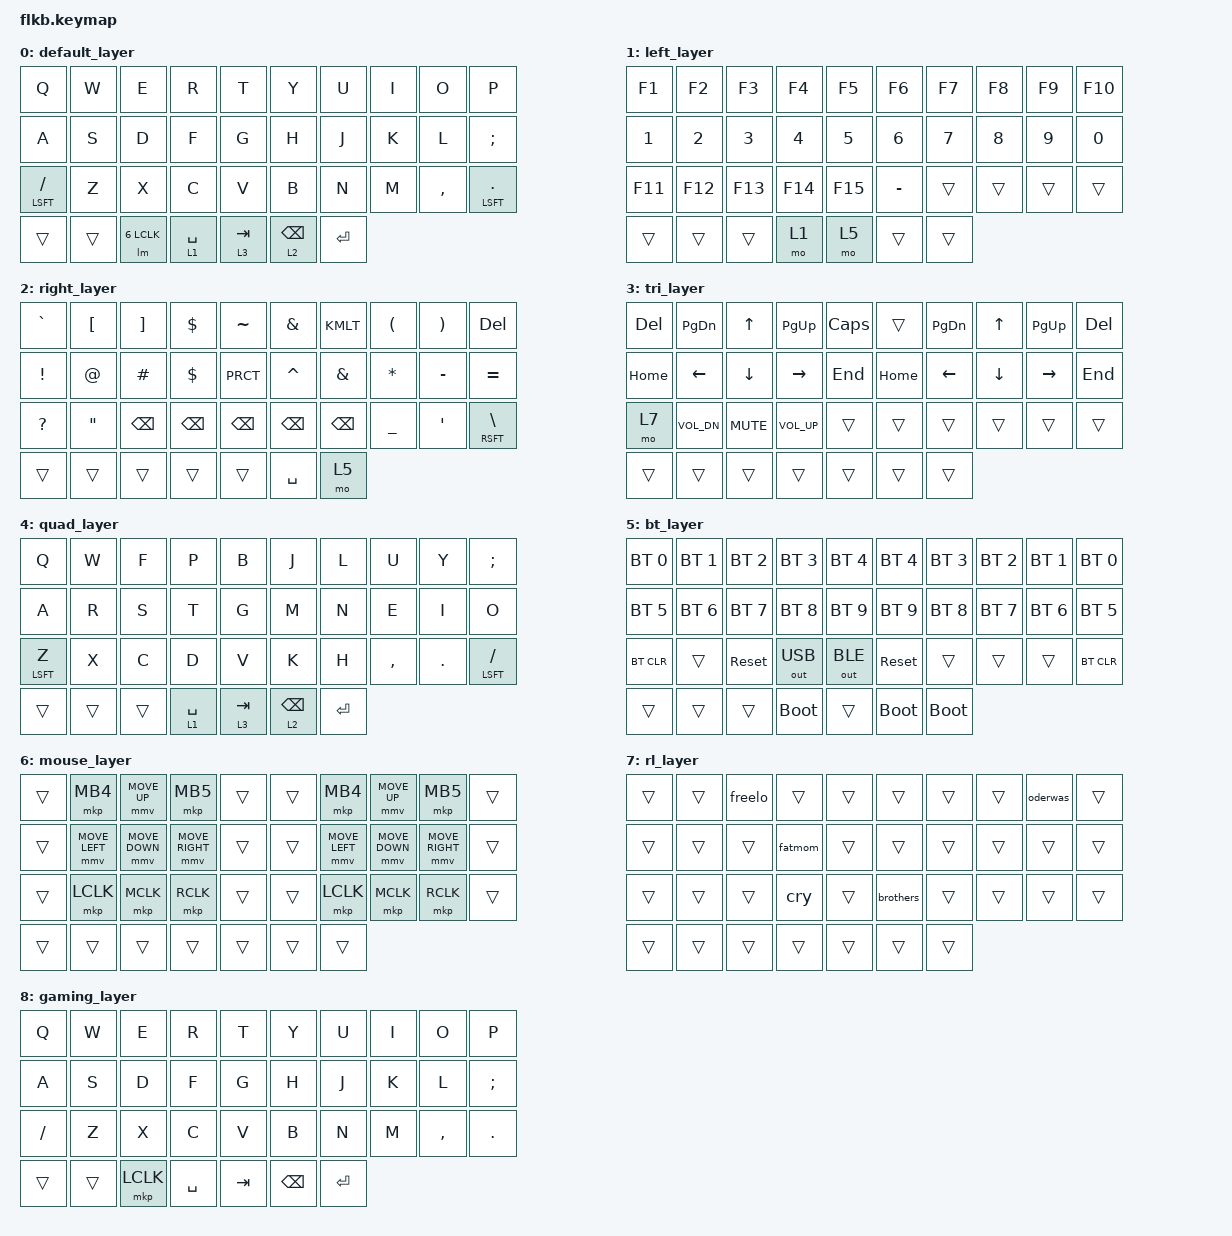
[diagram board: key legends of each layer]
#include <behaviors/mouse_keys.dtsi>
#include <behaviors/layer_mouse.dtsi>
#include <behaviors.dtsi>
#include <rl.dtsi>
#include <dt-bindings/zmk/bt.h>
#include <dt-bindings/zmk/keys.h>
#include <dt-bindings/zmk/mouse.h>
#include <dt-bindings/zmk/outputs.h>


&lt {
  tapping-term-ms = <200>;
  quick_tap_ms = <200>;
  flavor = "hold-preferred";
};

/ {

  combos {
	  compatible = "zmk,combos";
	  combo_gaming {
		timeout-ms = <50>;
		key-positions = <9 19 29>;
		bindings = <&tog 8>;
		slow-release;
	  };

	  combo_esc {
		  timeout-ms = <50>;
		  key-positions = <12 13>;
		  bindings = <&kp ESC>;
		  slow-release;
		  layers = <0 1 2 3 4 5 6 7>;
	  };

	  combo_ent {
		  timeout-ms = <50>;
		  key-positions = <13 24>;
		  bindings = <&kp RET>;
		  slow-release;
		  layers = <0 1 2 3 4 5 6 7>;
	  };

	  combo_bksp {
		  timeout-ms = <50>;
		  key-positions = <10 20>;
		  bindings = <&kp BKSP>;
		  slow-release;
		  layers = <0 1 2 3 4 5 6 7>;
	  };

/*
	  combo_colemak {
		  timeout-ms = <50>;
		  key-positions = <5 25>;
		  bindings = <&tog 4>;
		  slow-release;
		  layers = <0 1 2 3 4 5 6 7>;
	  };
*/

	  // home row combos

	  // left side

	  combo_lhome_alt {
		  timeout-ms = <50>;
		  key-positions = <34 13>;
		  bindings = <&kp LALT>;
		  slow-release;
		  layers = <0 1 2 3 4 5 6 7>;
	  };

	  combo_lhome_altgui {
		  timeout-ms = <50>;
		  key-positions = <34 12 13>;
		  bindings = <&kp LA(LGUI)>;
		  slow-release;
		  layers = <0 1 2 3 4 5 6 7>;
	  };

	  combo_lhome_altctl {
		  timeout-ms = <50>;
		  key-positions = <34 11 13>;
		  bindings = <&kp LA(LCTL)>;
		  slow-release;
		  layers = <0 1 2 3 4 5 6 7>;
	  };

	  combo_lhome_altguictl {
		  timeout-ms = <50>;
		  key-positions = <34 11 12 13>;
		  bindings = <&kp LA(LG(LCTRL))>;
		  slow-release;
		  layers = <0 1 2 3 4 5 6 7>;
	  };

	  combo_lhome_gui {
		  timeout-ms = <50>;
		  key-positions = <34 12>;
		  bindings = <&kp LGUI>;
		  slow-release;
		  layers = <0 1 2 3 4 5 6 7>;
	  };

	  combo_lhome_guictl {
		  timeout-ms = <50>;
		  key-positions = <34 11 12>;
		  bindings = <&kp LG(LCTRL)>;
		  slow-release;
		  layers = <0 1 2 3 4 5 6 7>;
	  };

	  combo_lhome_ctl {
		  timeout-ms = <50>;
		  key-positions = <34 11>;
		  bindings = <&kp LCTRL>;
		  slow-release;
		  layers = <0 1 2 3 4 5 6 7>;
	  };

	  // right side

	  combo_rhome_alt {
		  timeout-ms = <50>;
		  key-positions = <35 16>;
		  bindings = <&kp RALT>;
		  slow-release;
		  layers = <0 1 2 3 4 5 6 7>;
	  };

	  combo_rhome_altgui {
		  timeout-ms = <50>;
		  key-positions = <35 17 16>;
		  bindings = <&kp RA(RGUI)>;
		  slow-release;
		  layers = <0 1 2 3 4 5 6 7>;
	  };

	  combo_rhome_altctl {
		  timeout-ms = <50>;
		  key-positions = <35 18 16>;
		  bindings = <&kp RA(RCTL)>;
		  slow-release;
		  layers = <0 1 2 3 4 5 6 7>;
	  };

	  combo_rhome_altguictl {
		  timeout-ms = <50>;
		  key-positions = <35 18 17 16>;
		  bindings = <&kp RA(RG(RCTRL))>;
		  slow-release;
		  layers = <0 1 2 3 4 5 6 7>;
	  };

	  combo_rhome_gui {
		  timeout-ms = <50>;
		  key-positions = <35 17>;
		  bindings = <&kp RGUI>;
		  slow-release;
		  layers = <0 1 2 3 4 5 6 7>;
	  };

	  combo_rhome_guictl {
		  timeout-ms = <50>;
		  key-positions = <35 18 17>;
		  bindings = <&kp RG(RCTRL)>;
		  slow-release;
		  layers = <0 1 2 3 4 5 6 7>;
	  };

	  combo_rhome_ctl {
		  timeout-ms = <50>;
		  key-positions = <35 18>;
		  bindings = <&kp RCTRL>;
		  slow-release;
		  layers = <0 1 2 3 4 5 6 7>;
	  };

	  combo_lalt {
		   timeout-ms = <50>;
		   key-positions = <1 12>;
		   bindings = <&kp LALT>;
		   slow-release;
		   layers = <0 1 2 3 4 5 6 7>;
	   };
	   combo_lgui {
		   timeout-ms = <50>;
		   key-positions = <1 13>;
		   bindings = <&kp LGUI>;
		   slow-release;
		   layers = <0 1 2 3 4 5 6 7>;
	   };
	   combo_lctl {
		   timeout-ms = <50>;
		   key-positions = <2 13>;
		   bindings = <&kp LCTL>;
		   slow-release;
		   layers = <0 1 2 3 4 5 6 7>;
	   };
	   combo_ralt {
		   timeout-ms = <50>;
		   key-positions = <8 17>;
		   bindings = <&kp RALT>;
		   slow-release;
		   layers = <0 1 2 3 4 5 6 7>;
	   };
	   combo_rgui {
		   timeout-ms = <50>;
		   key-positions = <8 16>;
		   bindings = <&kp RGUI>;
		   slow-release;
		   layers = <0 1 2 3 4 5 6 7>;
	   };
	   combo_rctl {
		   timeout-ms = <50>;
		   key-positions = <7 16>;
		   bindings = <&kp RCTL>;
		   slow-release;
		   layers = <0 1 2 3 4 5 6 7>;
	   };
	   combo_laltgui {
		   timeout-ms = <50>;
		   key-positions = <11 2 3>;
		   bindings = <&kp LA(LGUI)>;
		   slow-release;
		   layers = <0 1 2 3 4 5 6 7>;
	   };
	   combo_laltctl {
		   timeout-ms = <50>;
		   key-positions = <1 12 3>;
		   bindings = <&kp LA(LCTL)>;
		   slow-release;
		   layers = <0 1 2 3 4 5 6 7>;
	   };
	   combo_lguictl {
		   timeout-ms = <50>;
		   key-positions = <1 2 13>;
		   bindings = <&kp LG(LCTL)>;
		   slow-release;
		   layers = <0 1 2 3 4 5 6 7>;
	   };
	   combo_raltgui {
		   timeout-ms = <50>;
		   key-positions = <6 7 18>;
		   bindings = <&kp RA(RGUI)>;
		   slow-release;
		   layers = <0 1 2 3 4 5 6 7>;
	   };
	   combo_raltctl {
		   timeout-ms = <50>;
		   key-positions = <6 17 8>;
		   bindings = <&kp RA(RCTL)>;
		   slow-release;
		   layers = <0 1 2 3 4 5 6 7>;
	   };
	   combo_rguictl {
		   timeout-ms = <50>;
		   key-positions = <16 7 8>;
		   bindings = <&kp RG(RCTL)>;
		   slow-release;
		   layers = <0 1 2 3 4 5 6 7>;
	   };


	   combo_ctl_w {
		   timeout-ms = <50>;
		   key-positions = <34 10>;
		   bindings = <&kp LC(W)>;
		   slow-release;
		   layers = <0 1 2 3 4 5 6 7>;
	   };

	   combo_ctl_s {
		   timeout-ms = <50>;
		   key-positions = <34 20>;
		   bindings = <&kp LC(S)>;
		   slow-release;
		   layers = <0 1 2 3 4 5 6 7>;
	   };

	   combo_hyper_lt {
		   timeout-ms = <30>;
		   key-positions = <34 0>;
		   bindings = <&kp LC(LG(LALT))>;
		   slow-release;
		   layers = <0 1 2 3 4 5 6 7>;
	   };

	   combo_hyper_rt {
		   timeout-ms = <30>;
		   key-positions = <35 9>;
		   bindings = <&kp LC(LG(LALT))>;
		   slow-release;
		   layers = <0 1 2 3 4 5 6 7>;
	   };

	   combo_hyper_l {
		   timeout-ms = <30>;
		   key-positions = <21 22>;
		   bindings = <&kp LC(LG(LALT))>;
		   slow-release;
		   layers = <0 1 2 3 4 5 6 7>;
	   };

	   combo_hyper_r {
		   timeout-ms = <30>;
		   key-positions = <27 28>;
		   bindings = <&kp LC(LG(LALT))>;
		   slow-release;
		   layers = <0 1 2 3 4 5 6 7>;
	   };

	   combo_mb1_r {
		   timeout-ms = <50>;
		   key-positions = <28 29>;
		   bindings = <&mkp LCLK>;
		   slow-release;
		   layers = <0 1 2 3 4 5 6 7>;
	   };

	   combo_mb2_r {
		   timeout-ms = <50>;
		   key-positions = <28 19>;
		   bindings = <&mkp RCLK>;
		   slow-release;
		   layers = <0 1 2 3 4 5 6 7>;
	   };

	   combo_mb3_r {
		   timeout-ms = <50>;
		   key-positions = <19 29>;
		   bindings = <&mkp MCLK>;
		   slow-release;
		   layers = <0 1 2 3 4 5 6 7>;
	   };
};

  keymap {
        compatible = "zmk,keymap";

        default_layer {
		bindings = <
		&kp Q &kp W &kp E &kp R &kp T 						&kp Y &kp U  &kp I    &kp O   &kp P
		&kp A &kp S &kp D &kp F &kp G 			        	        &kp H &kp J &kp K &kp L &kp SCLN
		&mt LSFT FSLH &kp Z &kp X &kp C &kp V 				        &kp B &kp N &kp M  &kp CMMA &mt LSFT DOT
		&trans &trans		&lm 6 LCLK &lt 1 SPC &lt 3 TAB   			&lt 2 BKSP &kp RET 
		>;
	};

	left_layer {
		bindings = <
		&kp F1    &kp F2        &kp F3      &kp F4        &kp F5		&kp F6     &kp F7  &kp F8   &kp F9     &kp F10
		&kp N1    &kp N2        &kp N3      &kp N4        &kp N5		&kp N6     &kp N7  &kp N8   &kp N9     &kp N0
		&kp F11    &kp F12 	&kp F13     &kp F14       &kp F15        	&kp MINUS  &trans  &trans   &trans     &trans
		&trans &trans			   &trans &mo 1  &mo 5  					&trans &trans 
		>;
	};

	right_layer {
		bindings = <
		&kp GRAVE  &kp LBKT &kp RBKT  &kp DLLR  &kp TILDE    			&kp AMPS  &kp KMLT &kp LPRN &kp RPRN &kp DEL
		&kp EXCL  &kp AT  &kp HASH  &kp DLLR  &kp PRCT 			&kp CARET &kp AMPS  &kp STAR  &kp MINUS   &kp EQUAL
		&kp QMARK  &kp DQT &kp BKSP &kp BKSP   &kp BKSP    			&kp BKSP &kp BKSP &kp UNDER &kp SQT  &mt RSFT BSLH
		&trans &trans			&trans &trans &trans  				&kp SPC  &mo 5 
		>;
	};

	tri_layer {
		bindings = <
		&kp DEL  &kp PG_DN   &kp UP   &kp PG_UP &kp CAPS			&trans &kp PG_DN   &kp UP   &kp PG_UP  &kp DEL
		&kp HOME &kp LEFT  &kp DOWN &kp RIGHT &kp END				&kp HOME &kp LEFT  &kp DOWN &kp RIGHT &kp END 
		&mo 7  &kp K_VOL_DN &kp K_MUTE &kp K_VOL_UP &trans  		&trans &trans &trans &trans &trans   
		&trans &trans			 &trans &trans   				&trans &trans &trans
		>;
	};

	quad_layer {
		bindings = <
		&kp Q &kp W &kp F &kp P &kp B 						&kp J &kp L  &kp U    &kp Y   &kp SCLN
		&kp A &kp R &kp S &kp T &kp G 			        	        &kp M &kp N &kp E &kp I &kp O
		&mt LSFT Z &kp X &kp C &kp D &kp V 				        &kp K &kp H &kp CMMA &kp DOT &mt LSFT FSLH
		&trans &trans			&trans &lt 1 SPC &lt 3 TAB  				&lt 2 BKSP &kp RET 
		>;
	};
	bt_layer {
		bindings = <
		&bt BT_SEL 0 &bt BT_SEL 1 &bt BT_SEL 2 &bt BT_SEL 3 &bt BT_SEL 4        &bt BT_SEL 4 &bt BT_SEL 3 &bt BT_SEL 2 &bt BT_SEL 1 &bt BT_SEL 0
		&bt BT_SEL 5 &bt BT_SEL 6 &bt BT_SEL 7 &bt BT_SEL 8 &bt BT_SEL 9        &bt BT_SEL 9 &bt BT_SEL 8 &bt BT_SEL 7 &bt BT_SEL 6 &bt BT_SEL 5
		&bt BT_CLR  &trans &sys_reset &out OUT_USB &out OUT_BLE        &sys_reset &trans &trans &trans &bt BT_CLR
		&trans &trans			&trans &bootloader &trans  				&bootloader &bootloader
		>;
	};
	mouse_layer {
		bindings = <
		&trans &mkp MB4 &mmv MOVE_UP &mkp MB5 &trans        		&trans &mkp MB4 &mmv MOVE_UP &mkp MB5 &trans
		&trans &mmv MOVE_LEFT &mmv MOVE_DOWN &mmv MOVE_RIGHT &trans     &trans &mmv MOVE_LEFT &mmv MOVE_DOWN &mmv MOVE_RIGHT &trans
		&trans &mkp LCLK &mkp MCLK &mkp RCLK &trans        		&trans &mkp LCLK &mkp MCLK &mkp RCLK &trans
          	&trans &trans &trans			&trans &trans  				&trans &trans
		>;
	};	
	rl_layer {
		bindings = <
		&trans &trans &freelo &trans &trans        		&trans &trans &trans &oderwas &trans
		&trans &trans &trans &fatmom &trans        		&trans &trans &trans &trans &trans
		&trans &trans &trans &cry &trans        		&brothers &trans &trans &trans &trans
          	&trans &trans &trans			&trans &trans  				&trans &trans
		>;
	};	
        gaming_layer {
		bindings = <
		&kp Q    &kp W &kp E &kp R &kp T 				&kp Y &kp U &kp I  &kp O    &kp P
		&kp A    &kp S &kp D &kp F &kp G 			       	&kp H &kp J &kp K  &kp L    &kp SCLN
		&kp FSLH &kp Z &kp X &kp C &kp V 			        &kp B &kp N &kp M  &kp CMMA &kp DOT
		&trans &trans		&mkp LCLK &kp SPC &kp TAB   		&kp BKSP &kp RET 
		>;
	};
    };
};
